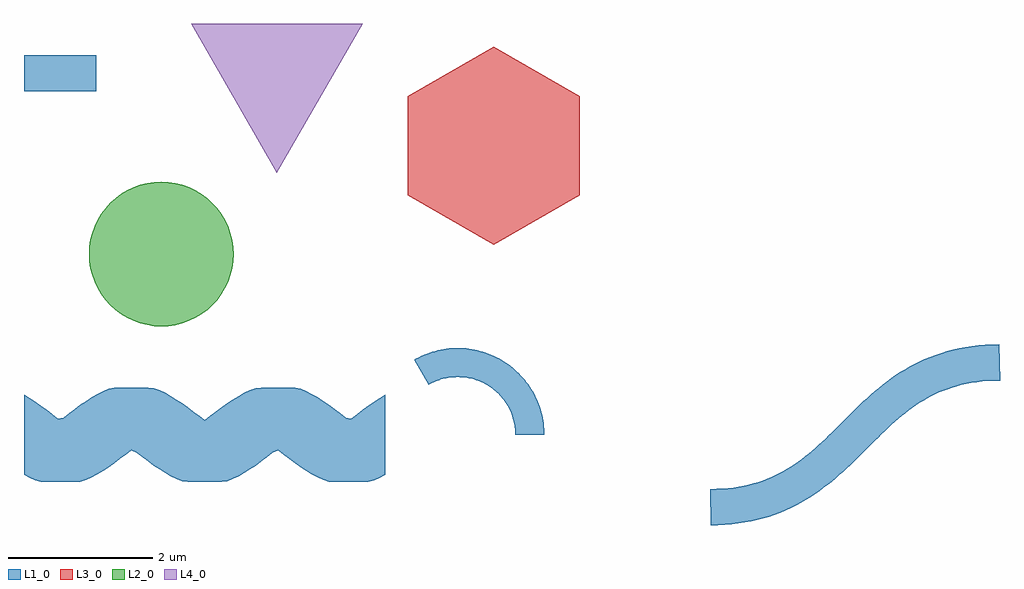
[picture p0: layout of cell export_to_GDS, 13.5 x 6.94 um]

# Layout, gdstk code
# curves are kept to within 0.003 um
import gdstk
lib = gdstk.Library(unit=1e-6, precision=1e-10)
def R(c, l, rs):  # rectangles x0, y0, x1, y1
    for r in rs: c.add(gdstk.rectangle(r[:2], r[2:], *l))
def P(c, l, *ps):  # polygons
    for p in ps: c.add(gdstk.Polygon(p, *l))
L1_0 = (1, 0)
L2_0 = (2, 0)
L3_0 = (3, 0)
L4_0 = (4, 0)

rectangle = lib.new_cell('rectangle')
R(rectangle, L1_0, [(-1.4999,-0.25,-0.5,0.25)])

triangle = lib.new_cell('triangle')
P(triangle, L4_0, [(2,-1.3719),(3.1881,0.6859),(0.8118,0.6859)])

circle = lib.new_cell('circle')
P(circle, L2_0, [(1.3999,-2.4999),(1.3951,-2.402),(1.3808,-2.305),(1.3569,-2.2098),(1.3239,-2.1175),(1.282,-2.0288),(1.2316,-1.9446),(1.1732,-1.8658),(1.1073,-1.7931),(1.0347,-1.7272),(0.9559,-1.6688),(0.8718,-1.6183),(0.7832,-1.5763),(0.6909,-1.5432),(0.5957,-1.5193),(0.4987,-1.5048),(0.4007,-1.5),(0.3028,-1.5047),(0.2057,-1.519),(0.1106,-1.5427),(0.0182,-1.5757),(-0.0704,-1.6175),(-0.1546,-1.6679),(-0.2335,-1.7262),(-0.3062,-1.792),(-0.3722,-1.8646),(-0.4307,-1.9433),(-0.4812,-2.0274),(-0.5233,-2.116),(-0.5565,-2.2083),(-0.5804,-2.3034),(-0.595,-2.4004),(-0.5999,-2.4984),(-0.5953,-2.5963),(-0.5811,-2.6934),(-0.5574,-2.7886),(-0.5245,-2.881),(-0.4827,-2.9697),(-0.4325,-3.0539),(-0.3742,-3.1328),(-0.3085,-3.2056),(-0.2359,-3.2717),(-0.1573,-3.3303),(-0.0732,-3.3809),(0.0152,-3.423),(0.1075,-3.4562),(0.2026,-3.4803),(0.2996,-3.4949),(0.3976,-3.4999),(0.4955,-3.4954),(0.5926,-3.4812),(0.6878,-3.4576),(0.7802,-3.4248),(0.869,-3.3831),(0.9533,-3.3329),(1.0322,-3.2747),(1.1051,-3.209),(1.1712,-3.1365),(1.2298,-3.0579),(1.2805,-2.9739),(1.3227,-2.8854),(1.356,-2.7931),(1.3801,-2.6981),(1.3948,-2.6011)])

polygon = lib.new_cell('polygon')
P(polygon, L3_0, [(4.9999,-2.3719),(6.1881,-1.6859),(6.1881,-0.314),(4.9999,0.3719),(3.8118,-0.314),(3.8118,-1.6859)])

ring = lib.new_cell('ring')
P(ring, L1_0, [(5.3,-4.9999),(5.2961,-4.9215),(5.2791,-4.8183),(5.2487,-4.7181),(5.2174,-4.6461),(5.1793,-4.5775),(5.1184,-4.4924),(5.0468,-4.4161),(4.987,-4.3653),(4.9,-4.3071),(4.7818,-4.2512),(4.6816,-4.2208),(4.5523,-4.2017),(4.4215,-4.2038),(4.3183,-4.2208),(4.1938,-4.2608),(4.1,-4.3071),(3.9,-3.9607),(4.0407,-3.8913),(4.1142,-3.8636),(4.2275,-3.8313),(4.3823,-3.8057),(4.5,-3.7999),(4.5784,-3.8025),(4.7341,-3.823),(4.8483,-3.8516),(4.9227,-3.8769),(4.9952,-3.9069),(5.1,-3.9607),(5.2305,-4.0479),(5.3203,-4.1241),(5.4022,-4.2087),(5.4754,-4.301),(5.5583,-4.4343),(5.6086,-4.5407),(5.6591,-4.6894),(5.6839,-4.8045),(5.6974,-4.9215),(5.6999,-4.9999)])

custom = lib.new_cell('custom')
P(custom, L1_0, [(-1.5,-4.4464),(-1.4218,-4.4923),(-1.2656,-4.5973),(-1.0312,-4.7754),(-0.9531,-4.7632),(-0.7968,-4.6431),(-0.6406,-4.5325),(-0.4843,-4.4378),(-0.3281,-4.3649),(-0.25,-4.35),(0.2968,-4.3533),(0.4531,-4.4213),(0.6093,-4.512),(0.7656,-4.62),(0.9999,-4.7999),(1.2343,-4.62),(1.3906,-4.512),(1.5468,-4.4213),(1.7031,-4.3533),(2.2499,-4.35),(2.3281,-4.3649),(2.4843,-4.4378),(2.6406,-4.5325),(2.7968,-4.6431),(2.9531,-4.7632),(3.0312,-4.7754),(3.2656,-4.5973),(3.4218,-4.4923),(3.5,-4.4464),(3.5,-5.5535),(3.3437,-5.6288),(3.2656,-5.6499),(2.7187,-5.6499),(2.6406,-5.6224),(2.5624,-5.5865),(2.4062,-5.4978),(2.2499,-5.3913),(2.0156,-5.2122),(1.9374,-5.249),(1.7031,-5.4248),(1.5468,-5.5265),(1.3906,-5.6087),(1.3124,-5.6409),(1.2343,-5.6499),(0.7656,-5.6499),(0.6874,-5.6409),(0.5312,-5.5704),(0.4531,-5.5265),(0.2968,-5.4248),(0.0624,-5.249),(-0.0156,-5.2122),(-0.25,-5.3913),(-0.4062,-5.4978),(-0.5625,-5.5865),(-0.6406,-5.6224),(-0.7187,-5.6499),(-1.2656,-5.6499),(-1.3437,-5.6288),(-1.5,-5.5535)])

waveguide = lib.new_cell('waveguide')
P(waveguide, L1_0, [(7.996,-5.75),(8.1656,-5.7447),(8.3196,-5.7297),(8.4629,-5.7056),(8.5966,-5.6733),(8.722,-5.6333),(8.8401,-5.5864),(8.952,-5.5328),(9.0589,-5.473),(9.1615,-5.4074),(9.2607,-5.3364),(9.4518,-5.1796),(9.6375,-5.0069),(10.0639,-4.5864),(10.2174,-4.4453),(10.3253,-4.3533),(10.4384,-4.2641),(10.5577,-4.1787),(10.6839,-4.098),(10.8175,-4.0233),(10.9592,-3.9555),(11.1094,-3.8958),(11.2685,-3.8451),(11.3515,-3.8235),(11.5244,-3.7881),(11.707,-3.7639),(11.8997,-3.7515),(11.996,-3.75),(12.0039,-4.2499),(11.8343,-4.2552),(11.6803,-4.2702),(11.537,-4.2943),(11.4033,-4.3266),(11.2779,-4.3666),(11.1598,-4.4135),(11.0479,-4.4671),(10.941,-4.5269),(10.8384,-4.5925),(10.7392,-4.6635),(10.5481,-4.8203),(10.3624,-4.993),(9.936,-5.4135),(9.7825,-5.5546),(9.6746,-5.6466),(9.5615,-5.7358),(9.4422,-5.8212),(9.316,-5.9019),(9.1824,-5.9766),(9.0407,-6.0444),(8.8905,-6.1041),(8.7314,-6.1548),(8.6484,-6.1764),(8.4755,-6.2118),(8.2929,-6.236),(8.1002,-6.2484),(8.0039,-6.2499)])

export_to_gds = lib.new_cell('export_to_GDS')
export_to_gds.add(gdstk.Reference(rectangle, (0,0)))
export_to_gds.add(gdstk.Reference(triangle, (0,0)))
export_to_gds.add(gdstk.Reference(circle, (0,0)))
export_to_gds.add(gdstk.Reference(polygon, (0,0)))
export_to_gds.add(gdstk.Reference(ring, (0,0)))
export_to_gds.add(gdstk.Reference(custom, (0,0)))
export_to_gds.add(gdstk.Reference(waveguide, (0,0)))

lib.write_gds('export_to_GDS.gds')
